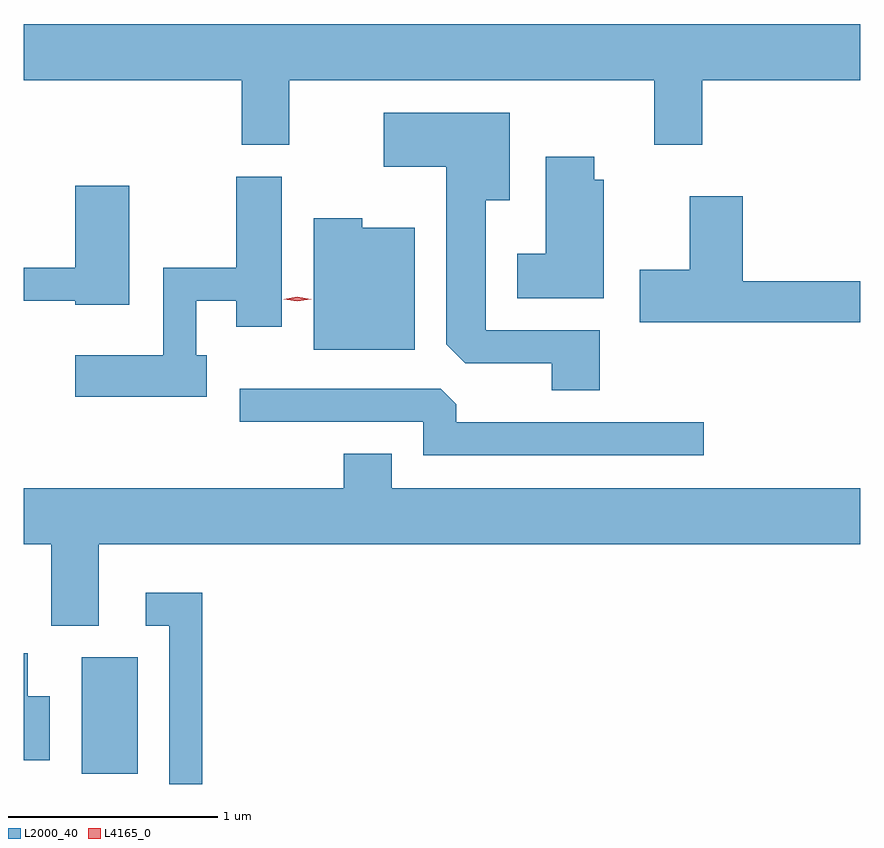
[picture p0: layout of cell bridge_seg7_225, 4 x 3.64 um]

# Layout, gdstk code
import gdstk
lib = gdstk.Library(unit=1e-6, precision=1e-09)
def R(c, l, rs):  # rectangles x0, y0, x1, y1
    for r in rs: c.add(gdstk.rectangle(r[:2], r[2:], *l))
def P(c, l, *ps):  # polygons
    for p in ps: c.add(gdstk.Polygon(p, *l))
L2000_40 = (2000, 40)
L4165_0 = (4165, 0)

bridge_seg7_225 = lib.new_cell('bridge_seg7_225')
R(bridge_seg7_225, L2000_40, [(1782.246,1693.236,1782.514,1693.794)])
P(bridge_seg7_225, L2000_40, [(1781.97,1696.556),(1783.011,1696.556),(1783.011,1696.246),(1783.239,1696.246),(1783.239,1696.556),(1784.986,1696.556),(1784.986,1696.246),(1785.214,1696.246),(1785.214,1696.556),(1785.97,1696.556),(1785.97,1696.824),(1781.97,1696.824)],
  [(1784.724,1695.359),(1784.179,1695.359),(1784.179,1695.981),(1784.294,1695.981),(1784.294,1696.399),(1783.691,1696.399),(1783.691,1696.141),(1783.991,1696.141),(1783.991,1695.292),(1784.082,1695.201),(1784.496,1695.201),(1784.496,1695.071),(1784.724,1695.071)],
  [(1784.744,1696.079),(1784.699,1696.079),(1784.699,1696.189),(1784.466,1696.189),(1784.466,1695.724),(1784.331,1695.724),(1784.331,1695.511),(1784.744,1695.511)],
  [(1782.844,1695.239),(1782.794,1695.239),(1782.794,1695.501),(1782.986,1695.501),(1782.986,1695.376),(1783.204,1695.376),(1783.204,1696.094),(1782.986,1696.094),(1782.986,1695.659),(1782.636,1695.659),(1782.636,1695.239),(1782.216,1695.239),(1782.216,1695.041),(1782.844,1695.041)],
  [(1782.474,1696.049),(1782.216,1696.049),(1782.216,1695.659),(1781.97,1695.659),(1781.97,1695.501),(1782.216,1695.501),(1782.216,1695.481),(1782.474,1695.481)],
  [(1785.97,1695.594),(1785.409,1695.594),(1785.409,1695.999),(1785.156,1695.999),(1785.156,1695.649),(1784.916,1695.649),(1784.916,1695.396),(1785.97,1695.396)],
  [(1783.839,1695.849),(1783.589,1695.849),(1783.589,1695.894),(1783.356,1695.894),(1783.356,1695.266),(1783.839,1695.266)],
  [(1785.223,1694.919),(1784.039,1694.919),(1784.039,1695.004),(1783.964,1695.079),(1783.003,1695.079),(1783.003,1694.921),(1783.881,1694.921),(1783.881,1694.761),(1785.223,1694.761)],
  [(1782.329,1694.336),(1785.97,1694.336),(1785.97,1694.604),(1783.729,1694.604),(1783.729,1694.769),(1783.501,1694.769),(1783.501,1694.604),(1781.97,1694.604),(1781.97,1694.336),(1782.101,1694.336),(1782.101,1693.946),(1782.329,1693.946)],
  [(1782.824,1694.104),(1782.553,1694.104),(1782.553,1693.946),(1782.666,1693.946),(1782.666,1693.188),(1782.824,1693.188)],
  [(1782.094,1693.609),(1781.989,1693.609),(1781.989,1693.814),(1781.97,1693.814),(1781.97,1693.301),(1782.094,1693.301)])
P(bridge_seg7_225, L4165_0, [(1783.278,1695.498),(1783.212,1695.507),(1783.212,1695.508),(1783.212,1695.508),(1783.278,1695.518),(1783.343,1695.508),(1783.344,1695.508),(1783.343,1695.507)])

lib.write_gds('bridge_seg7_225.gds')
